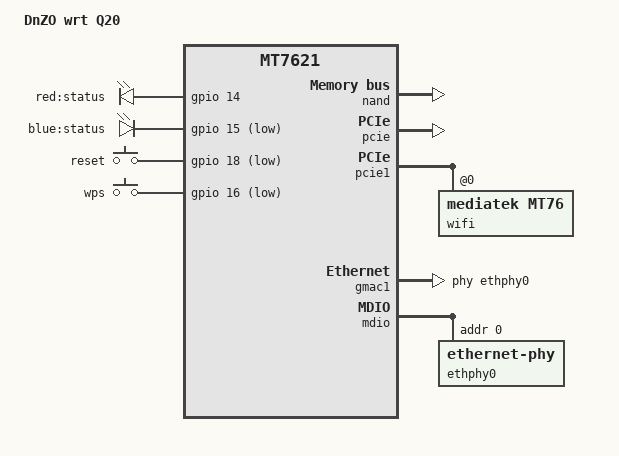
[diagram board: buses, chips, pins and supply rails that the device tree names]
// SPDX-License-Identifier: GPL-2.0-or-later OR MIT

#include "mt7621.dtsi"

#include <dt-bindings/gpio/gpio.h>
#include <dt-bindings/input/input.h>

/ {
	compatible = "jcg,q20", "mediatek,mt7621-soc";
	model = "DnZO wrt Q20";

	aliases {
		led-boot = &led_status_red;
		led-failsafe = &led_status_red;
		led-running = &led_status_blue;
		led-upgrade = &led_status_blue;
		label-mac-device = &gmac0;
	};

	chosen {
		bootargs = "console=ttyS0,115200";
	};

	leds {
		compatible = "gpio-leds";

		led_status_red: status_red {
			label = "red:status";
			gpios = <&gpio 14 GPIO_ACTIVE_HIGH>;
		};

		led_status_blue: status_blue {
			label = "blue:status";
			gpios = <&gpio 15 GPIO_ACTIVE_LOW>;
		};
	};

	keys {
		compatible = "gpio-keys";

		reset {
			label = "reset";
			gpios = <&gpio 18 GPIO_ACTIVE_LOW>;
			linux,code = <KEY_RESTART>;
		};

		wps {
			label = "wps";
			gpios = <&gpio 16 GPIO_ACTIVE_LOW>;
			linux,code = <KEY_WPS_BUTTON>;
		};
	};

	ubi-concat {
		compatible = "mtd-concat";
		devices = <&ubiconcat0 &ubiconcat1>;

		partitions {
			compatible = "fixed-partitions";
			#address-cells = <1>;
			#size-cells = <1>;

			partition@0 {
				label = "ubi";
				reg = <0x0 0x79c0000>;
			};
		};
	};
};

&nand {
	status = "okay";

	partitions {
		compatible = "fixed-partitions";
		#address-cells = <1>;
		#size-cells = <1>;

		partition@0 {
			label = "Bootloader";
			reg = <0x0 0x80000>;
			read-only;
		};

		partition@80000 {
			label = "Config";
			reg = <0x80000 0x80000>;
		};

		factory: partition@100000 {
			label = "Factory";
			reg = <0x100000 0x40000>;
			read-only;
		};

		partition@140000 {
			label = "kernel";
			reg = <0x140000 0x400000>;
		};

		ubiconcat0: partition@540000 {
			label = "ubiconcat0";
			reg = <0x540000 0x1c80000>;
		};

		partition@21c0000 {
			label = "bdinfo";
			reg = <0x21c0000 0x80000>;
			read-only;
		};

		ubiconcat1: partition@2240000 {
			label = "ubiconcat1";
			reg = <0x2240000 0x5d40000>;
		};

		/*
		 * last 512 KiB are for the bad block table
		 */
	};
};

&pcie {
	status = "okay";
};

&pcie1 {
	wifi@0,0 {
		compatible = "mediatek,mt76";
		reg = <0x0000 0 0 0 0>;
		mediatek,mtd-eeprom = <&factory 0x8000>
		mediatek,disable-radar-background;
	};
};

&gmac0 {
	nvmem-cells = <&macaddr_factory_e000>;
	nvmem-cell-names = "mac-address";
};

&gmac1 {
	status = "okay";
	label = "wan";
	phy-handle = <&ethphy0>;

	nvmem-cells = <&macaddr_factory_e006>;
	nvmem-cell-names = "mac-address";
};

&mdio {
	ethphy0: ethernet-phy@0 {
		reg = <0>;
	};
};

&switch0 {
	ports {
		port@1 {
			status = "okay";
			label = "lan1";
		};

		port@4 {
			status = "okay";
			label = "lan2";
		};
	};
};

&state_default {
	gpio {
		groups = "jtag", "wdt";
		function = "gpio";
	};
};

&factory {
	compatible = "nvmem-cells";
	#address-cells = <1>;
	#size-cells = <1>;

	macaddr_factory_e000: macaddr@e000 {
		reg = <0xe000 0x6>;
	};

	macaddr_factory_e006: macaddr@e006 {
		reg = <0xe006 0x6>;
	};
};
